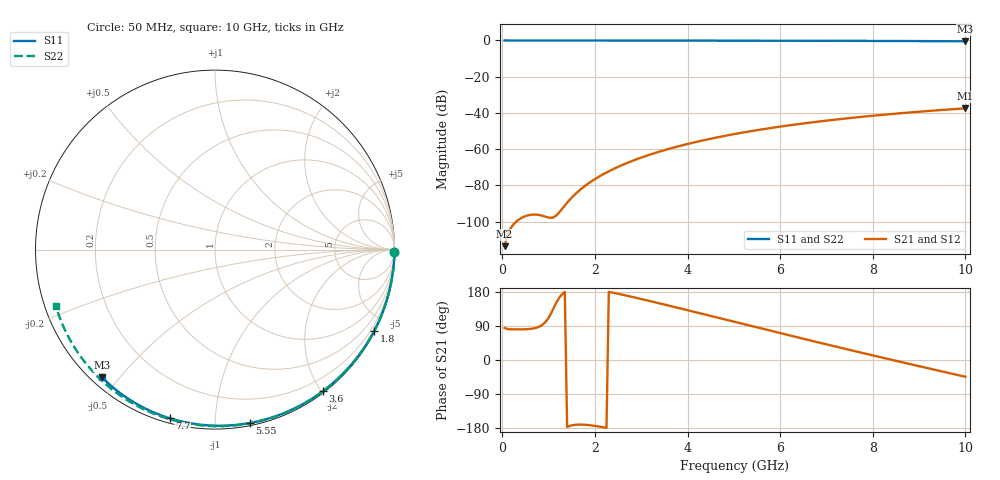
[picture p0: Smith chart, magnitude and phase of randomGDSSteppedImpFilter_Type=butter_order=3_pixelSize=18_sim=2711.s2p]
! freq	dB(S11)	phase(S11)	dB(S12)	phase(S12)
!  dB(S21)	phase(S21)	dB(S22)	phase(S22)
!S-par simulation data
#  GHz  S  DB  R 50
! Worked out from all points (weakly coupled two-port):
!   200 points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, 50 MHz to 10 GHz, reference 50 ohm
!   highest |S21| = -37.48 dB at 10 GHz (marker M1); lowest = -113.6 dB at 50 MHz (marker M2)
!   lowest |S11| = -0.4 dB at 10 GHz (marker M3), VSWR 39.11, Z = 1.54 - j22.5 ohm
!   |S11| at or under -10 dB: nowhere
!   |S22| runs from -0.5 to 0.0 dB; largest |S21 - S12| = 0
!   S11 on the Smith chart (normalised r, x): 50 MHz: open; 1.8 GHz: 0.04, -4.17; 3.6 GHz: 0.02, -2.02; 5.55 GHz: 0.02, -1.22; 7.7 GHz: 0.02, -0.77; 10 GHz: 0.03, -0.45
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0.05  -0.00 -0.8  -113.60 84.8  -113.60 84.8  -0.00 -0.9
0.45  -0.01 -6.8  -97.53 80.9  -97.53 80.9  -0.01 -8.3
0.85  -0.02 -12.9  -96.70 91.6  -96.70 91.6  -0.02 -15.6
1.3  -0.02 -19.6  -92.69 174.6  -92.69 174.6  -0.03 -23.7
1.75  -0.03 -26.2  -81.04 -170.6  -81.04 -170.6  -0.04 -31.8
1.8  -0.03 -26.9  -80.06 -171.0  -80.06 -171.0  -0.04 -32.7
2  -0.04 -29.9  -76.57 -173.8  -76.57 -173.8  -0.05 -36.2
2.15  -0.04 -32.1  -74.30 -176.8  -74.30 -176.8  -0.05 -38.8
2.5  -0.05 -37.1  -69.79 174.8  -69.79 174.8  -0.06 -44.9
2.9  -0.06 -42.9  -65.61 163.8  -65.61 163.8  -0.07 -51.8
3.4  -0.07 -49.9  -61.34 149.3  -61.34 149.3  -0.08 -60.2
3.6  -0.07 -52.7  -59.85 143.4  -59.85 143.4  -0.09 -63.6
4.3  -0.09 -62.3  -55.38 122.3  -55.38 122.3  -0.11 -75.0
5.05  -0.11 -72.2  -51.51 99.6  -51.51 99.6  -0.13 -86.9
5.55  -0.13 -78.7  -49.33 84.5  -49.33 84.5  -0.15 -94.6
6.1  -0.15 -85.7  -47.22 68.0  -47.22 68.0  -0.18 -102.9
6.7  -0.18 -93.1  -45.19 50.1  -45.19 50.1  -0.22 -111.8
7.2  -0.21 -99.1  -43.69 35.4  -43.69 35.4  -0.25 -119.1
7.7  -0.24 -105.1  -42.33 20.8  -42.33 20.8  -0.29 -126.4
8.35  -0.29 -112.7  -40.74 2.1  -40.74 2.1  -0.35 -135.8
9.2  -0.36 -122.4  -38.94 -22.0  -38.94 -22.0  -0.43 -148.3
10  -0.44 -131.5  -37.48 -44.2  -37.48 -44.2  -0.53 -160.4
